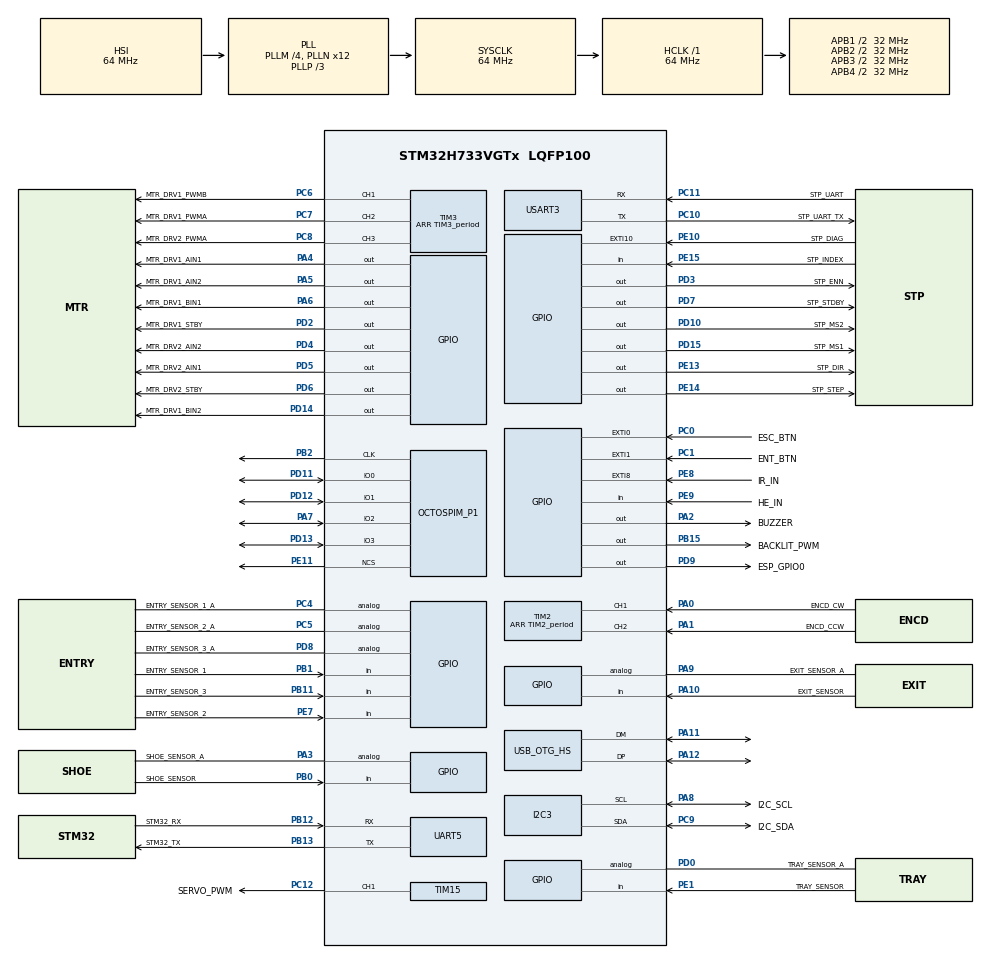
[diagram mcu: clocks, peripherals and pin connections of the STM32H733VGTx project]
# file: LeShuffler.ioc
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CORTEX_M7.CPU_DCache=Enabled
CORTEX_M7.CPU_ICache=Enabled
CORTEX_M7.default_mode_Activation=0
I2C3.Timing=0x00707CBB
IWDG1.Prescaler=IWDG_PRESCALER_256
IWDG1.Reload=IWDG_window_value
IWDG1.Window=IWDG_window_value
Mcu.Family=STM32H7
Mcu.Name=STM32H733VGTx
Mcu.Package=LQFP100
Mcu.UserConstants=TIM2_prescaler,(4-1);encoderFilter,15;TIM15_prescaler,(128-1);TIM3_period,(100-1);TIM15_period,(10000-1);TIM3_prescaler,(640-1);IWDG_period,(4096-1);TIM14_PERIOD,(5000-1);TIM12_period,(65536-1);TIM12_prescaler,(64-1);TIM2_period,(65536-1);IWDG_window_value,(750-1);TIM14_PRESCALER,(64000-1)
NVIC.EXTI0_IRQn=true\:0\:0\:false\:false\:true\:true\:true\:true
NVIC.EXTI15_10_IRQn=true\:0\:0\:false\:false\:true\:true\:true\:true
NVIC.EXTI1_IRQn=true\:0\:0\:false\:false\:true\:true\:true\:true
NVIC.EXTI9_5_IRQn=true\:0\:0\:false\:false\:true\:true\:true\:true
NVIC.FLASH_IRQn=true\:0\:0\:false\:false\:true\:true\:true\:true
NVIC.OTG_HS_IRQn=true\:0\:0\:false\:false\:true\:false\:true\:true
NVIC.PriorityGroup=NVIC_PRIORITYGROUP_4
NVIC.TIM15_IRQn=true\:0\:0\:false\:false\:true\:true\:true\:true
NVIC.TIM2_IRQn=true\:0\:0\:false\:false\:true\:true\:true\:true
NVIC.TIM8_BRK_TIM12_IRQn=true\:0\:0\:false\:false\:true\:true\:true\:true
OCTOSPI2.ChipSelectHighTime=5
OCTOSPI2.DeviceSize=25
OCTOSPI2.DeviceType=SPI_DEVICE_FLASH
OCTOSPI2.FifoThreshold=4
PA0.GPIO_Label=ENCD_CW
PA0.Signal=S_TIM2_CH1_ETR
PA1.GPIO_Label=ENCD_CCW
PA1.Signal=S_TIM2_CH2
PA10.GPIO_Label=EXIT_SENSOR
PA10.Signal=GPIO_Input
PA11.Mode=Device_Only_FS
PA11.Signal=USB_OTG_HS_DM
PA12.Mode=Device_Only_FS
PA12.Signal=USB_OTG_HS_DP
PA13(JTMS/SWDIO).Mode=Serial_Wire
PA13(JTMS/SWDIO).Signal=DEBUG_JTMS-SWDIO
PA14(JTCK/SWCLK).Mode=Serial_Wire
PA14(JTCK/SWCLK).Signal=DEBUG_JTCK-SWCLK
PA2.GPIO_Label=BUZZER
PA2.Signal=GPIO_Output
PA3.GPIO_Label=SHOE_SENSOR_A
PA3.Signal=GPIO_Analog
PA4.GPIO_Label=MTR_DRV1_AIN1
PA4.Signal=GPIO_Output
PA5.GPIO_Label=MTR_DRV1_AIN2
PA5.Signal=GPIO_Output
PA6.GPIO_Label=MTR_DRV1_BIN1
PA6.Signal=GPIO_Output
PA7.Mode=OCTOSPI2_IOL_Port1L
PA7.Signal=OCTOSPIM_P1_IO2
PA8.GPIO_Label=I2C_SCL
PA8.Mode=I2C
PA8.Signal=I2C3_SCL
PA9.GPIO_Label=EXIT_SENSOR_A
PA9.Signal=GPIO_Analog
PB0.GPIO_Label=SHOE_SENSOR
PB0.Signal=GPIO_Input
PB1.GPIO_Label=ENTRY_SENSOR_1
PB1.Signal=GPIO_Input
PB11.GPIO_Label=ENTRY_SENSOR_3
PB11.Signal=GPIO_Input
PB12.GPIO_Label=STM32_RX
PB12.Mode=Asynchronous
PB12.Signal=UART5_RX
PB13.GPIO_Label=STM32_TX
PB13.Mode=Asynchronous
PB13.Signal=UART5_TX
PB15.GPIO_Label=BACKLIT_PWM
PB15.Signal=GPIO_Output
PB2.Mode=O2_P1_CLK
PB2.Signal=OCTOSPIM_P1_CLK
PC0.GPIO_Label=ESC_BTN
PC0.Signal=GPXTI0
PC1.GPIO_Label=ENT_BTN
PC1.Signal=GPXTI1
PC10.GPIO_Label=STP_UART_TX
PC10.Mode=Asynchronous
PC10.Signal=USART3_TX
PC11.GPIO_Label=STP_UART
PC11.Mode=Asynchronous
PC11.Signal=USART3_RX
PC12.GPIO_Label=SERVO_PWM
PC12.Signal=S_TIM15_CH1
PC14-OSC32_IN.Mode=LSE-External-Oscillator
PC14-OSC32_IN.Signal=RCC_OSC32_IN
PC15-OSC32_OUT.Mode=LSE-External-Oscillator
PC15-OSC32_OUT.Signal=RCC_OSC32_OUT
PC4.GPIO_Label=ENTRY_SENSOR_1_A
PC4.Signal=GPIO_Analog
PC5.GPIO_Label=ENTRY_SENSOR_2_A
PC5.Signal=GPIO_Analog
PC6.GPIO_Label=MTR_DRV1_PWMB
PC6.Signal=S_TIM3_CH1
PC7.GPIO_Label=MTR_DRV1_PWMA
PC7.Signal=S_TIM3_CH2
PC8.GPIO_Label=MTR_DRV2_PWMA
PC8.Signal=S_TIM3_CH3
PC9.GPIO_Label=I2C_SDA
PC9.Mode=I2C
PC9.Signal=I2C3_SDA
PD0.GPIO_Label=TRAY_SENSOR_A
PD0.Signal=GPIO_Analog
PD10.GPIO_Label=STP_MS2
PD10.Signal=GPIO_Output
PD11.Mode=OCTOSPI2_IOL_Port1L
PD11.Signal=OCTOSPIM_P1_IO0
PD12.Mode=OCTOSPI2_IOL_Port1L
PD12.Signal=OCTOSPIM_P1_IO1
PD13.Mode=OCTOSPI2_IOL_Port1L
PD13.Signal=OCTOSPIM_P1_IO3
PD14.GPIO_Label=MTR_DRV1_BIN2
PD14.Signal=GPIO_Output
PD15.GPIO_Label=STP_MS1
PD15.Signal=GPIO_Output
PD2.GPIO_Label=MTR_DRV1_STBY
PD2.Signal=GPIO_Output
PD3.GPIO_Label=STP_ENN
PD3.Signal=GPIO_Output
PD4.GPIO_Label=MTR_DRV2_AIN2
PD4.Signal=GPIO_Output
PD5.GPIO_Label=MTR_DRV2_AIN1
PD5.Signal=GPIO_Output
PD6.GPIO_Label=MTR_DRV2_STBY
PD6.Signal=GPIO_Output
PD7.GPIO_Label=STP_STDBY
PD7.Signal=GPIO_Output
PD8.GPIO_Label=ENTRY_SENSOR_3_A
PD8.Signal=GPIO_Analog
PD9.GPIO_Label=ESP_GPIO0
PD9.Signal=GPIO_Output
PE1.GPIO_Label=TRAY_SENSOR
PE1.Signal=GPIO_Input
PE10.GPIO_Label=STP_DIAG
PE10.Signal=GPXTI10
PE11.Mode=OCTOSPI2_Port1_NCS
PE11.Signal=OCTOSPIM_P1_NCS
PE13.GPIO_Label=STP_DIR
PE13.Signal=GPIO_Output
PE14.GPIO_Label=STP_STEP
PE14.Signal=GPIO_Output
PE15.GPIO_Label=STP_INDEX
PE15.Signal=GPIO_Input
PE7.GPIO_Label=ENTRY_SENSOR_2
PE7.Signal=GPIO_Input
PE8.GPIO_Label=IR_IN
PE8.Signal=GPXTI8
PE9.GPIO_Label=HE_IN
PE9.Signal=GPIO_Input
PH0-OSC_IN.Mode=HSE-External-Oscillator
PH0-OSC_IN.Signal=RCC_OSC_IN
PH1-OSC_OUT.Mode=HSE-External-Oscillator
PH1-OSC_OUT.Signal=RCC_OSC_OUT
ProjectManager.HeapSize=0x200
ProjectManager.StackSize=0x400
ProjectManager.TargetToolchain=STM32CubeIDE
RCC.ADCFreq_Value=512000000
RCC.APB1Freq_Value=32000000
RCC.APB2Freq_Value=32000000
RCC.APB3Freq_Value=32000000
RCC.APB4Freq_Value=32000000
RCC.CDPPRE=RCC_APB3_DIV2
RCC.CDPPRE1=RCC_APB1_DIV2
RCC.CDPPRE2=RCC_APB2_DIV2
RCC.CKPERSourceSelection=RCC_CLKPSOURCE_HSE
RCC.CortexFreq_Value=64000000
RCC.D1PPRE=RCC_APB3_DIV2
RCC.D2PPRE1=RCC_APB1_DIV2
RCC.D2PPRE2=RCC_APB2_DIV2
RCC.D3PPRE=RCC_APB4_DIV2
RCC.DIVM1=4
RCC.DIVM2=1
RCC.DIVM3=1
RCC.DIVN1=12
RCC.DIVN2=16
RCC.DIVN3=24
RCC.DIVP1=3
RCC.HCLKFreq_Value=64000000
RCC.HSE_VALUE=8000000
RCC.PLL2FRACN=0
RCC.PLL3FRACN=0
RCC.PLLFRACN=0
RCC.PWR_Regulator_Voltage_Scale=PWR_REGULATOR_VOLTAGE_SCALE3
RCC.RNGCLockSelection=RCC_RNGCLKSOURCE_PLL
RCC.SRDPPRE=RCC_APB4_DIV2
RCC.SYSCLKFreq_VALUE=64000000
RCC.SYSCLKSource=RCC_SYSCLKSOURCE_PLLCLK
RCC.USBCLockSelection=RCC_USBCLKSOURCE_HSI48
RCC.USBFreq_Value=48000000
SH.S_TIM15_CH1.0=TIM15_CH1,PWM Generation1 CH1
SH.S_TIM2_CH1_ETR.0=TIM2_CH1,Encoder_Interface
SH.S_TIM2_CH2.0=TIM2_CH2,Encoder_Interface
SH.S_TIM3_CH1.0=TIM3_CH1,PWM Generation1 CH1
SH.S_TIM3_CH2.0=TIM3_CH2,PWM Generation2 CH2
SH.S_TIM3_CH3.0=TIM3_CH3,PWM Generation3 CH3
TIM12.Period=TIM12_period
TIM12.Prescaler=TIM12_prescaler
TIM15.Channel-PWM\ Generation1\ CH1=TIM_CHANNEL_1
TIM15.Period=TIM15_period
TIM15.Prescaler=TIM15_prescaler
TIM2.EncoderMode=TIM_ENCODERMODE_TI12
TIM2.IC1Filter=encoderFilter
TIM2.IC2Filter=encoderFilter
TIM2.Period=TIM2_period
TIM2.Prescaler=TIM2_prescaler
TIM3.Channel-PWM\ Generation1\ CH1=TIM_CHANNEL_1
TIM3.Channel-PWM\ Generation2\ CH2=TIM_CHANNEL_2
TIM3.Channel-PWM\ Generation3\ CH3=TIM_CHANNEL_3
TIM3.OCFastMode_PWM-PWM\ Generation2\ CH2=TIM_OCFAST_DISABLE
TIM3.OCMode_PWM-PWM\ Generation2\ CH2=TIM_OCMODE_PWM1
TIM3.Period=TIM3_period
TIM3.Prescaler=TIM3_prescaler
USART3.VirtualMode-Asynchronous=VM_ASYNC
USB_DEVICE.CLASS_NAME_HS=CDC
USB_DEVICE.USBD_DEBUG_LEVEL=3
USB_DEVICE.VirtualMode=Cdc
USB_DEVICE.VirtualModeHS=Cdc_HS
USB_OTG_HS.VirtualMode-Device_Only_FS=Device_Only_FS
VP_IWDG1_VS_IWDG.Mode=IWDG_Activate
VP_MEMORYMAP_VS_MEMORYMAP.Mode=CurAppReg
VP_OCTOSPI2_VS_quad.Mode=quad_mode
VP_RNG_VS_RNG.Mode=RNG_Activate
VP_TIM12_VS_ClockSourceINT.Mode=Internal
VP_TIM3_VS_ClockSourceINT.Mode=Internal
VP_USB_DEVICE_VS_USB_DEVICE_CDC_HS.Mode=CDC_HS
board=custom

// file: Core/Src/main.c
/* USER CODE BEGIN Header */
/**
 ******************************************************************************
 * @file           : main.c
 * @brief          : Main program body
 ******************************************************************************
 *
 ******************************************************************************
 */
/* USER CODE END Header */
#include <basic_operations.h>
#include <main.h>
#include <i2c.h>
#include "memorymap.h"
#include <octospi.h>
#include <rng.h>
#include "tim.h"
#include "usart.h"
#include "usb_device.h"
#include "gpio.h"

/* USER CODE BEGIN Includes */

#include <bootload.h>
#include <buttons.h>
#include <fonts.h>
#include <games.h>
#include <ili9488.h>
#include <interface.h>
#include <inttypes.h>
#include <math.h>
#include "PSRAM.h"
#include <rng.h>
#include <servo_motor.h>
#include <stdbool.h>
#include <stdio.h>
#include <stdlib.h>
#include <stm32_adafruit_lcd.h>
#include <string.h>
#include <TB6612FNG.h>
#include <TMC2209.h>
#include "usbd_cdc_if.h"
#include <utilities.h>
#include <version.h>
#include "iwdg.h"
#include "rdp_protection.h"

#include "tests.h"

/* USER CODE END Includes */

/* USER CODE BEGIN PV */

extern char display_buf[];
extern union game_state_t game_state;
extern union machine_state_t machine_state;
gen_prefs_t gen_prefs;
context_t context;

bool reset_home = false;
bool fresh_load = true;

servo_motor_t flap;
dc_motor_t tray_motor;
dc_motor_t entry_motor;
dc_motor_t latch;
button encoder_btn;
button escape_btn;

uint8_t n_cards_in;
int16_t prev_encoder_pos;
uint32_t prev_encoder_turn_time;
int8_t carousel_pos;
uint32_t last_deal_time;
bool latch_position;
move_report_t MR;
eject_report_t ER;
load_report_t LR;
menu_t current_menu;

extern game_rules_t void_game_rules;
extern user_prefs_t void_user_pref;

/* USER CODE END PV */

void SystemClock_Config(void);
/* USER CODE BEGIN PFP */
void EnterBootloaderMode(void);
static bool CheckServiceModeShortcut(void);
/* USER CODE END PFP */

int main(void)
{

	/* USER CODE BEGIN 1 */

	uint16_t n_loaded;
	bool sel_rand_mode;
	bool neutralise_errors = false;

	/* USER CODE END 1 */

	/* Enable the CPU Cache */

	/* Enable I-Cache---------------------------------------------------------*/

	SCB_EnableICache();

	/* Enable D-Cache---------------------------------------------------------*/
	SCB_EnableDCache();

	/* MCU Configuration--------------------------------------------------------*/

	/* Reset of all peripherals, Initializes the Flash interface and the Systick. */
	HAL_Init();

	/* Configure the system clock */
	SystemClock_Config();

	/* USER CODE BEGIN SysInit */

	/* Check and set RDP Level 1 protection if not already set.
	 * This runs once on first boot after firmware update.
	 * If RDP0, sets RDP1 and triggers reset (function won't return).
	 * If already RDP1, continues normal boot. */
	RDP_CheckAndProtect();
	/*
	 * RECAP OF TIMER USE
	 * TIM2		rotary encoder
	 * TIM3		DC motors PWM (speed) and solenoid (unused)
	 * TIM12	microseconds
	 * TIM15	servo motor PWM (position)
	 */
	/* USER CODE END SysInit */

	/* Initialize all configured peripherals */
	MX_GPIO_Init();
	MX_I2C3_Init();
	MX_OCTOSPI2_Init();
	MX_RNG_Init();
	MX_TIM2_Init();
	MX_TIM3_Init();
	MX_TIM12_Init();
	MX_TIM15_Init();
	MX_UART5_Init();
	MX_USB_DEVICE_Init();
	MX_USART3_UART_Init();
	MX_IWDG1_Init();
	/* USER CODE BEGIN 2 */

	// Check for service mode shortcut (both buttons held for 2 seconds)
	// This allows firmware updates when USB power is insufficient for motors
	CheckServiceModeShortcut();

	/**
	 * @brief Call this in main() as soon as possible AFTER MX_I2C3_Init()
	 * because it needs I2C3 to communicate with the external 47C16 chip
	 */
	EarlyBootloaderCheck();
	// Initialise Status
	return_code_t status = LS_OK;
	return_code_t local_status;

	//Set up LCD
	HAL_GPIO_WritePin(BACKLIT_PWM_GPIO_Port, BACKLIT_PWM_Pin, GPIO_PIN_SET);
	BSP_LCD_Init();
	BSP_LCD_Clear(LCD_COLOR_BCKGND);

	//Initialise menu system
	interface_init();

	// Enable flash memory map
	W25Q64_OSPI_EnableMemoryMappedMode(&hospi2);

	// Start encoder mode on TIM2 (encoder)
	HAL_TIM_Encoder_Start(ENCODER_TIM_CH);
	// Start TIM12 (microseconds)
	HAL_TIM_Base_Start(&MICROSECONDS_TIM);

	// Initialise buttons
	button_init(&encoder_btn, ENT_BTN_GPIO_Port, ENT_BTN_Pin, GPIO_PIN_RESET);
	button_init(&escape_btn, ESC_BTN_GPIO_Port, ESC_BTN_Pin, GPIO_PIN_RESET);

	// Initialise actuators
	DCmotorInit(&tray_motor, 1, TRAY_MOTOR_PIN_1, TRAY_MOTOR_PIN_2,
	TRAY_MOTOR_STDBY_PIN, TRAY_MOTOR_PWM_CH);
	DCmotorInit(&entry_motor, 2, ENTRY_MOTOR_PIN_1, ENTRY_MOTOR_PIN_2,
	ENTRY_MOTOR_STDBY_PIN, ENTRY_MOTOR_PWM_CH);
	DCmotorInit(&latch, 3, SOLENOID_PIN_1, SOLENOID_PIN_2, SOLENOID_STDBY_PIN,
	SOLENOID_PWM_CH);
	flap_init(SERVO_PWM_CH);

	// Activate EERAM AutoStore
	if (EERAM_ActivateAutoStore(&hi2c3) != HAL_OK)
	{
		status = EERAM_ERROR;
		goto _ERROR_CATCH;
	}

	// Check code consistency of games/EERAM
	extern uint16_t n_presets;
	extern uint16_t n_user_prefs;
	extern uint16_t n_menus;
	extern uint16_t n_games;
	if ((n_presets != n_user_prefs) || n_presets != n_games + 1 // +1 is  DEAL_N_CARDS
	|| sizeof(game_rules_t) != E_GAME_RULES_SIZE
			|| sizeof(cc_stage_t) != E_CC_STAGE_SIZE
			|| sizeof(user_prefs_t) != E_USER_PREFS_SIZE || E_N_MENUS < n_menus
			|| E_N_PRESETS < n_presets)
	{
		status = LS_ERROR;
		goto _ERROR_CATCH;
	}

	// Check code consistency of error codes
	extern uint16_t n_non_errors;
	extern uint16_t n_text_errors;
	extern uint16_t n_graphic_errors;
	extern uint16_t n_fatal_errors;
	if (n_non_errors + n_text_errors + n_graphic_errors + n_fatal_errors
			!= TMC2209_ERROR + 1)
	{
		status = LS_ERROR;
		goto _ERROR_CATCH;
	}

	// Prompt animated logo
	prompt_animated_logo();

	// If ESC pressed during logo prompt, wait for buttons after logo
	if (escape_btn.interrupt_press)
	{
		wait_btns();
		reset_btns();
	}

	// Force latch closed
	latch_position = LATCH_OPEN;
	set_latch(LATCH_CLOSED);

	// Initialise carousel
	if ((status = carousel_init()) != LS_OK)
		goto _ERROR_CATCH;

	// Home carousel just after initialisation
	if ((status = home_carousel()) != LS_OK)
		goto _ERROR_CATCH;

	// Check EERAM status and initialise if necessary
	// (will prompt soft reset down the line via DO_RESET
	if ((status = check_eeram()) != LS_OK)
	{
		set_current_menu(ROOT_MENU);
		goto _ERROR_CATCH;
	}

	// Get machine state
	if ((status = read_machine_state()) != LS_OK)
		goto _ERROR_CATCH;

	if (machine_state.reset == DO_RESET)
	{
		if ((status = reset_user_prefs()) != LS_OK
				|| (status = reset_content()) != LS_OK || (status =
						reset_custom_games()) != LS_OK)
			goto _ERROR_CATCH;
	}

	// Read general preferences
	if ((status = read_gen_prefs()) != LS_OK)
		goto _ERROR_CATCH;

	// Get nb cards in
	if ((status = get_n_cards_in()) != LS_OK)
		goto _ERROR_CATCH;

	// Flag start_up
	bool start_up = true;

	// Signal end of sequence
	beep(1);
	// If cards in shoe, ask to pick them up
	wait_pickup_shoe_or_ESC();

	/* USER CODE BEGIN WHILE */
	/* USER CODE END 2 */
	/* Infinite loop */
	while (1)
	{
		watchdog_refresh();

		// Force empty if error content
		if (machine_state.content_error == CONTENT_ERROR)
			if ((status = force_empty(
					"Content error.\nShuffler will be emptied", TIME_LAG))
					!= LS_OK)
				goto _ERROR_CATCH;;

		// Reset homing position if needed
		if (reset_home)
		{
			prompt_message("Resetting carousel...");
			// Home carousel
			if ((local_status = home_carousel()) != LS_OK)
			{
				status = local_status;
				clear_message(TEXT_ERROR);
				goto _ERROR_CATCH;
			}

			clear_message(TEXT_ERROR);

			// Reset flag
			reset_home = false;

			goto _ERROR_CATCH;
		}

		// Initialise n_loaded
		n_loaded = 0;

		// GET GAME STATE
		if ((status = read_game_state()) != LS_OK)
			goto _ERROR_CATCH;

		// Check if last game was interrupted
		// If stuck at END_GAME, or not proper game and interrupted, reset
		if (game_state.current_stage == END_GAME
				|| (!is_proper_game(game_state.game_code)
						&& game_state.current_stage != NO_GAME_RUNNING))
		{
			game_state.current_stage = NO_GAME_RUNNING;
			if ((status = write_game_state()) != LS_OK)
				goto _ERROR_CATCH;
		}
		// Else, if suspended proper game, ask
		else if (game_state.current_stage != NO_GAME_RUNNING)
		{
			// Get label of game_code and prompt user
			menu_t temp_menu;
			return_code_t user_input;
			extern icon_set_t icon_set_check;
			if ((status = set_menu(&temp_menu, game_state.game_code)) != LS_OK)
				goto _ERROR_CATCH;
			snprintf(display_buf, N_DISP_MAX, "%s in progress\nContinue?",
					temp_menu.label);
			clear_text();
			user_input = prompt_interface(MESSAGE, CUSTOM_MESSAGE, display_buf,
					icon_set_check, ICON_RED_CROSS, BUTTON_PRESS);
			if (user_input == LS_ESC)
			{
				if ((status = reset_game_state()) != LS_OK)
					goto _ERROR_CATCH;
				if ((status = prompt_menu(DEFAULT_SELECT, ROOT_MENU)) != LS_OK)
					goto _ERROR_CATCH;
			}
			else
			{
				if ((status = set_current_menu(game_state.game_code)) != LS_OK)
					goto _ERROR_CATCH;
				prompt_title(current_menu.label);
			}
		}

		/********************************************
		 * Cycle through menus if no game is running
		 ********************************************/
		if (game_state.current_stage == NO_GAME_RUNNING)
		{

			if (start_up)
			{
				// Prompt root menu
				prompt_menu(DEFAULT_SELECT, ROOT_MENU);
				if (machine_state.content_error == CONTENT_OK)
					prompt_n_cards_in();
				else
					hide_n_cards_in();
				start_up = false;
			}

			if ((status = menu_cycle()) != LS_OK)
				goto _ERROR_CATCH;
			// Update game_state
			game_state.game_code = current_menu.code;

		}

		/********************************************
		 * Exiting menu cycle
		 ********************************************/

		/*
		 * If double deck shuffling was interrupted, and we are attempting an
		 * action - other than shuffling 2 decks or emptying - with more than 1 card
		 * in any slots, empty carousel
		 */

		if ((current_menu.n_items == 0)
				&& (machine_state.double_deck == DOUBLE_DECK_STATE)
				&& (current_menu.code != DOUBLE_DECK_SHUFFLE)
				&& (current_menu.code != EMPTY))
		{
			// Assert if some slots have 2 cards
			bool SDS;
			if ((status = some_double_slots(&SDS)) != LS_OK)
				goto _ERROR_CATCH;
			// If so force empty
			if (SDS)
			{
				if ((status = force_empty(
						"Some slots contain 2 cards.\nShuffler will be emptied",
						TIME_LAG)) != LS_OK)
					goto _ERROR_CATCH;
			}
			// If not, switch to single deck mode
			else
			{
				machine_state.double_deck = SINGLE_DECK_STATE;
				if ((status = write_machine_state()) != LS_OK)
					goto _ERROR_CATCH;
				hide_n_cards_in();

			}
		}

		// If proper game, run game
		if (is_proper_game(game_state.game_code))
		{
			if (context == CONTEXT_SET_PREFS)
			{
				if ((status = set_user_prefs(game_state.game_code)) != LS_OK)
					goto _ERROR_CATCH;
			}
			else if (context == CONTEXT_SET_CUSTOM_GAMES)
			{
				if ((status = set_custom_game_rules(game_state.game_code))
						!= LS_OK)
					goto _ERROR_CATCH;
			}
			else
				while ((status = run_game()) == LS_OK)
					;
		}
		// Else if action menu, find associated action if any
		else if (current_menu.n_items == 0)
			switch ((uint8_t) current_menu.code)
			{
				case RESET_PREFS:
					clear_text();
					extern icon_set_t icon_set_check;
					return_code_t user_input = prompt_interface(WARNING,
							CUSTOM_MESSAGE, "\nReset preferences?",
							icon_set_check, ICON_BACK, BUTTON_PRESS);
					if (user_input == LS_OK)
					{
						if ((status = reset_user_prefs()) != LS_OK)
							goto _ERROR_CATCH;
						clear_message(TEXT_ERROR);
					}
					reset_btns();
					break;

				case RESET_CONTENT:
					clear_text();
					extern icon_set_t icon_set_check;
					user_input = prompt_interface(WARNING, CUSTOM_MESSAGE,
							"\nReset shuffler content?", icon_set_check,
							ICON_BACK, BUTTON_PRESS);
					if (user_input == LS_OK)
					{
						if ((status = reset_content()) != LS_OK)
							goto _ERROR_CATCH;
						clear_message(TEXT_ERROR);
					}
					// Safely close latch
					latch_position = LATCH_OPEN;
					set_latch(LATCH_CLOSED);
					reset_btns();
					break;

				case RESET_CUSTOM_GAMES:
					clear_text();
					extern icon_set_t icon_set_check;
					user_input = prompt_interface(WARNING, CUSTOM_MESSAGE,
							"\nReset custom games?", icon_set_check, ICON_BACK,
							BUTTON_PRESS);
					if (user_input == LS_OK)
					{
						if ((status = reset_custom_games()) != LS_OK)
							goto _ERROR_CATCH;
						clear_message(TEXT_ERROR);
					}
					reset_btns();
					break;

				case SHUFFLE:
					// Shuffle
					if (!cards_in_shoe())
						flap_close();
					game_state.current_stage = SHUFFLING;
					if ((status = write_game_state()) != LS_OK)
						goto _ERROR_CATCH;
					status = shuffle(&n_loaded);
					break;

				case DOUBLE_DECK_SHUFFLE:
					// Shuffle 2 decks
					if ((status = load_double_deck(&n_loaded)) != LS_OK)
						goto _ERROR_CATCH;
					// Safe empty afterwards
					game_state.current_stage = SAFE_EMPTYING;
					if ((status = write_game_state()) != LS_OK)
						goto _ERROR_CATCH;
					clear_text();
					if ((status = discharge_cards(void_game_rules)) != LS_OK)
						goto _ERROR_CATCH;
					// If OK wait for pick-up
					wait_pickup_shoe(0);
					break;

				case LOAD:
					// Close flap
					flap_close();

					// Get machine state
					if ((status = read_machine_state()) != LS_OK)
						break;

					// Select mode: random if long press and no previous sequential operation, seq otherwise
					if (encoder_btn.long_press
							&& machine_state.random_in == RANDOM_STATE)
						sel_rand_mode = RAND_MODE;
					else
						sel_rand_mode = SEQ_MODE;

					// Load cards and prompt if OK
					if ((status = load_carousel(sel_rand_mode, &n_loaded))
							== LS_OK)
					{
						snprintf(display_buf, N_DISP_MAX, "Loaded %d card%s",
								n_loaded, n_loaded > 1 ? "s" : "");
						extern icon_set_t icon_set_void;
						prompt_interface(MESSAGE, CUSTOM_MESSAGE, display_buf,
								icon_set_void, ICON_VOID, TIME_LAG);
					}
					break;

				case DEAL_N_CARDS:
					status = deal_n_cards();
					break;

				case SHUFFLERS_CHOICE:
					status = shufflers_choice();
					break;

				case EMPTY:

					// Update game_state
					game_state.game_code = EMPTY;

					// Set up safe random mode (PERMANENT safe + seq, other seq)
					if (encoder_btn.permanent_press)
						game_state.current_stage = SAFE_EMPTYING;
					else
						game_state.current_stage = EMPTYING;

					if ((status = write_game_state()) != LS_OK)
						goto _ERROR_CATCH;

					// Close flap (option)
					wait_pickup_shoe_or_ESC();

					// Empty carousel
					if ((status = discharge_cards(void_game_rules))
							!= CARD_STUCK_ON_EXIT)
						set_latch(LATCH_CLOSED);

					// Update game_state
					game_state.current_stage = NO_GAME_RUNNING;
					if ((local_status = write_game_state()) != LS_OK)
						status = local_status;
					break;

				case ADJUST_DEAL_GAP:
					status = adjust_deal_gap();
					break;

				case SET_CUT_CARD_FLAG:
					status = set_cut_card_flag();
					break;

				case ROTATE_TRAY_ROLLER:
					clean_roller(tray_motor);
					break;

				case ROTATE_ENTRY_ROLLER:
					clean_roller(entry_motor);
					break;

				case DC_MOTORS_RUN_IN:
					dc_motors_run_in();
					break;

				case TEST_CAROUSEL:
					status = test_carousel_motor();
					break;

				case TEST_CAROUSEL_DRIVER:
					test_carousel_driver();
					break;

				case TEST_EXIT_LATCH:
					test_exit_latch();
					break;

				case ACCESS_EXIT_CHUTE:
					access_exit_chute();
					break;

				case ADJUST_CARD_FLAP:
					status = adjust_card_flap_full();
					break;

				case ADJUST_CARD_FLAP_LIMITED:
					status = adjust_card_flap_limited();
					break;

				case TEST_BUZZER:
					test_buzzer();
					break;

				case DISPLAY_SENSORS:
					display_sensors();
					break;

				case ABOUT:
					status = prompt_about();
					break;

				case IMAGE_UTILITY:
					carousel_disable();
					image_utility();
					carousel_enable();
					status = LS_OK;
					break;

				case FIRMWARE_UPDATE:
					// General warning with current version
					clear_text();
					extern icon_set_t icon_set_check;
					char fw_warning[80];
					snprintf(fw_warning, sizeof(fw_warning),
							"Current version: %s\nwill be erased. Continue?",
							GetFirmwareVersionString());
					user_input = prompt_interface(WARNING, CUSTOM_MESSAGE,
							fw_warning,
							icon_set_check, ICON_CROSS, BUTTON_PRESS);
					if (user_input == LS_OK)
					{
						// Check safety code
						const uint16_t code_len = 5;
						char safety_code[] = "AKQJT";
						char code_input[] =  "@@@@@";
						int16_t m_row = 1;

						clear_message(TEXT_ERROR);
						prompt_text("Enter safety code:", m_row, LCD_BOLD_FONT);
						name_input(code_input, code_len);
						if (strcmp(code_input, safety_code) == 0)
							EnterBootloaderMode();
					}
					reset_btns();
					break;

				case TEST_IMAGES:
					show_images();
					status = LS_OK;
					break;

				case TEST_WATCHDOG:
					test_watchdog();
					status = LS_OK;
					break;

					// _menu with no sub-menus and no affected action (yet)
				default:
					status = INVALID_CHOICE;
			}

		// ERROR CATCH and reset screen
		_ERROR_CATCH:

		bool is_standard_error(return_code_t return_code)
		{
			bool found = false;
			extern return_code_t standard_errors[];
			extern const uint16_t n_standard_errors;
			for (uint16_t i = 0; i < n_standard_errors; i++)
			{
				if (return_code == standard_errors[i])
				{
					found = true;
					break;
				}
			}

			return found;
		}

		// If all OK and action menu (no sub-menus) return to calling menu
		if (status == LS_OK)
		{
			if (current_menu.n_items == 0)
				if ((status = prompt_calling_menu()) != LS_OK)
					goto _ERROR_CATCH;
		}
		// Manage standard errors (display standard message)
		else if (is_standard_error(status))
		{
			extern icon_set_t icon_set_check;
			prompt_interface(ALERT, status, "", icon_set_check, ICON_VOID,
					BUTTON_PRESS);
			if (current_menu.code != ROOT_MENU)
			{
				if ((status = prompt_calling_menu()) != LS_OK)
					goto _ERROR_CATCH;
			}
			else
				prompt_menu(DEFAULT_SELECT, ROOT_MENU);
		}
		// Manage non-standard errors
		else
			switch (status)
			{
				case LS_ESC:
					// Go back to calling menu, inactive if in root menu
					if ((status = prompt_calling_menu()) != LS_OK)
						goto _ERROR_CATCH;
					break;

				case DO_EMPTY:
					status = force_empty("Empty Shuffler?", BUTTON_PRESS);
					start_up = true;
					break;

				case SLOT_IS_EMPTY:
					machine_state.content_error = CONTENT_ERROR;
					if ((local_status = write_machine_state()) != LS_OK)
					{
						status = local_status;
						goto _ERROR_CATCH;
					}

					reset_home = true;
					break;

				case NO_FAVORITES_SELECTED:
					extern icon_set_t icon_set_check;
					prompt_interface(ALERT, status, "", icon_set_check,
							ICON_VOID, BUTTON_PRESS);
					set_param_sub_menu(SETTINGS, SET_FAVORITES);
					prompt_menu(FORCE_MENU, SETTINGS);

					break;

				case NO_DEALERS_CHOICE_SELECTED:
					extern icon_set_t icon_set_check;
					prompt_interface(ALERT, status, "", icon_set_check,
							ICON_VOID, BUTTON_PRESS);
					set_param_sub_menu(SETTINGS, SET_DEALERS_CHOICE);
					prompt_menu(FORCE_MENU, SETTINGS);

					break;

				default:
					if (neutralise_errors)
					{
						extern icon_set_t icon_set_check;
						prompt_interface(ALERT, status, "", icon_set_check,
								ICON_VOID, BUTTON_PRESS);
						BSP_LCD_Clear(LCD_COLOR_BCKGND);
						if (current_menu.code != ROOT_MENU)
						{
							if ((status = prompt_calling_menu()) != LS_OK)
								goto _ERROR_CATCH;
						}
						else
						{
							prompt_current_title();
							prompt_menu(DEFAULT_SELECT, ROOT_MENU);
						}
					}
					else
					{

						// All other errors cause termination
						LS_error_handler(status);
					}
			}

		status = LS_OK;
		reset_btns();

		if (machine_state.content_error == CONTENT_OK)
			prompt_n_cards_in();
		else
			hide_n_cards_in();

		/* USER CODE END WHILE */

	}
}

void SystemClock_Config(void)
{
	RCC_OscInitTypeDef RCC_OscInitStruct =
	{ 0 };
	RCC_ClkInitTypeDef RCC_ClkInitStruct =
	{ 0 };

	/** Supply configuration update enable
	 */
	HAL_PWREx_ConfigSupply(PWR_LDO_SUPPLY);

	/** Configure the main internal regulator output voltage
	 */
	__HAL_PWR_VOLTAGESCALING_CONFIG(PWR_REGULATOR_VOLTAGE_SCALE3);

	while (!__HAL_PWR_GET_FLAG(PWR_FLAG_VOSRDY))
	{
	}

	/** Initializes the RCC Oscillators according to the specified parameters
	 * in the RCC_OscInitTypeDef structure.
	 */
	RCC_OscInitStruct.OscillatorType = RCC_OSCILLATORTYPE_HSI48
			| RCC_OSCILLATORTYPE_HSI;
	RCC_OscInitStruct.HSIState = RCC_HSI_DIV1;
	RCC_OscInitStruct.HSICalibrationValue = 64;
	RCC_OscInitStruct.HSI48State = RCC_HSI48_ON;
	RCC_OscInitStruct.PLL.PLLState = RCC_PLL_ON;
	RCC_OscInitStruct.PLL.PLLSource = RCC_PLLSOURCE_HSI;
	RCC_OscInitStruct.PLL.PLLM = 4;
	RCC_OscInitStruct.PLL.PLLN = 12;
	RCC_OscInitStruct.PLL.PLLP = 3;
	RCC_OscInitStruct.PLL.PLLQ = 2;
	RCC_OscInitStruct.PLL.PLLR = 2;
	RCC_OscInitStruct.PLL.PLLRGE = RCC_PLL1VCIRANGE_3;
	RCC_OscInitStruct.PLL.PLLVCOSEL = RCC_PLL1VCOWIDE;
	RCC_OscInitStruct.PLL.PLLFRACN = 0;
	if (HAL_RCC_OscConfig(&RCC_OscInitStruct) != HAL_OK)
	{
		Error_Handler();
	}

	/** Initializes the CPU, AHB and APB buses clocks
	 */
	RCC_ClkInitStruct.ClockType = RCC_CLOCKTYPE_HCLK | RCC_CLOCKTYPE_SYSCLK
			| RCC_CLOCKTYPE_PCLK1 | RCC_CLOCKTYPE_PCLK2 | RCC_CLOCKTYPE_D3PCLK1
			| RCC_CLOCKTYPE_D1PCLK1;
	RCC_ClkInitStruct.SYSCLKSource = RCC_SYSCLKSOURCE_PLLCLK;
	RCC_ClkInitStruct.SYSCLKDivider = RCC_SYSCLK_DIV1;
	RCC_ClkInitStruct.AHBCLKDivider = RCC_HCLK_DIV1;
	RCC_ClkInitStruct.APB3CLKDivider = RCC_APB3_DIV2;
	RCC_ClkInitStruct.APB1CLKDivider = RCC_APB1_DIV2;
	RCC_ClkInitStruct.APB2CLKDivider = RCC_APB2_DIV2;
	RCC_ClkInitStruct.APB4CLKDivider = RCC_APB4_DIV2;

	if (HAL_RCC_ClockConfig(&RCC_ClkInitStruct, FLASH_LATENCY_1) != HAL_OK)
	{
		Error_Handler();
	}
}

/* USER CODE BEGIN 4 */

int _write(int file, char *ptr, int len)
{
	CDC_Transmit_HS((uint8_t*) ptr, len);
	return (len);
}

void HAL_GPIO_EXTI_Callback(uint16_t GPIO_Pin)
{

	if (GPIO_Pin == ESC_BTN_Pin)
		escape_btn.interrupt_press = true;
	else if (GPIO_Pin == ENT_BTN_Pin)
		encoder_btn.interrupt_press = true;
//	else if (GPIO_Pin == STP_DIAG_Pin)
//		stallFlag = true;

	return;
}

/* USER CODE END 4 */

void Error_Handler(void)
{
	/* USER CODE BEGIN Error_Handler_Debug */
	/* User can add his own implementation to report the HAL error return state */
	__disable_irq();
	while (1)
		;
	/* USER CODE END Error_Handler_Debug */
}

/**
 * @brief Enter bootloader mode for firmware update
 * Sets RTC backup register flag and resets.
 * Bootloader will erase flash before initializing USB.
 */
void EnterBootloaderMode(void)
{
	RCC->APB4ENR |= RCC_APB4ENR_RTCAPBEN;
	__DSB();
	PWR->CR1 |= PWR_CR1_DBP;
	while ((PWR->CR1 & PWR_CR1_DBP) == 0)
	{
	}
	RTC->BKP0R = BOOTLOADER_MAGIC_VALUE;
	NVIC_SystemReset();
}

/**
 * @brief Check for service mode shortcut at boot
 * If both ENTER and ESC buttons are held for 2 seconds at boot,
 * enters bootloader mode directly (bypasses motor init).
 * Used for field updates when USB power is insufficient for motors.
 * @return true if shortcut activated (won't return - resets to bootloader)
 * @return false if shortcut not activated (continue normal boot)
 */
static bool CheckServiceModeShortcut(void)
{
	// Check if both buttons are currently pressed
	// Buttons are active HIGH (open_state = GPIO_PIN_RESET)
	GPIO_PinState esc_state = HAL_GPIO_ReadPin(ESC_BTN_GPIO_Port, ESC_BTN_Pin);
	GPIO_PinState ent_state = HAL_GPIO_ReadPin(ENT_BTN_GPIO_Port, ENT_BTN_Pin);

	if (esc_state != GPIO_PIN_SET || ent_state != GPIO_PIN_SET)
	{
		// One or both buttons not pressed - normal boot
		return false;
	}

	// Both buttons pressed - wait 2 seconds and verify still held
	// Use simple HAL_Delay with watchdog refresh
	const uint32_t SERVICE_MODE_HOLD_TIME_MS = 2000;
	const uint32_t CHECK_INTERVAL_MS = 50;
	uint32_t elapsed_ms = 0;

	while (elapsed_ms < SERVICE_MODE_HOLD_TIME_MS)
	{
		watchdog_refresh();
		HAL_Delay(CHECK_INTERVAL_MS);
		elapsed_ms += CHECK_INTERVAL_MS;

		// Re-check buttons
		esc_state = HAL_GPIO_ReadPin(ESC_BTN_GPIO_Port, ESC_BTN_Pin);
		ent_state = HAL_GPIO_ReadPin(ENT_BTN_GPIO_Port, ENT_BTN_Pin);

		if (esc_state != GPIO_PIN_SET || ent_state != GPIO_PIN_SET)
		{
			// Button released before 2 seconds - abort shortcut
			return false;
		}
	}

	// Both buttons held for 2 seconds - enter service mode
	// Initialize minimal LCD to show message
	HAL_GPIO_WritePin(BACKLIT_PWM_GPIO_Port, BACKLIT_PWM_Pin, GPIO_PIN_SET);
	BSP_LCD_Init();
	BSP_LCD_Clear(LCD_COLOR_BLACK);
	BSP_LCD_SetFont(&LCD_FIXED_FONT);
	BSP_LCD_SetTextColor(LCD_COLOR_WHITE);
	BSP_LCD_DisplayStringAtLine(10, (uint8_t*)" SERVICE MODE");
	BSP_LCD_SetFont(&LCD_FIXED_SMALL_FONT);
	// Display current version (reads from flash, no EERAM needed)
	static char version_msg[40];
	snprintf(version_msg, sizeof(version_msg), " Current: %s", GetFirmwareVersionString());
	BSP_LCD_DisplayStringAtLine(8, (uint8_t*)version_msg);
	BSP_LCD_DisplayStringAtLine(6, (uint8_t*)" Entering firmware update...");

	// Distinctive beep pattern (long-short-long) to confirm service mode
	HAL_GPIO_WritePin(BUZZER_GPIO_Port, BUZZER_Pin, GPIO_PIN_SET);
	HAL_Delay(300);
	HAL_GPIO_WritePin(BUZZER_GPIO_Port, BUZZER_Pin, GPIO_PIN_RESET);
	HAL_Delay(100);
	HAL_GPIO_WritePin(BUZZER_GPIO_Port, BUZZER_Pin, GPIO_PIN_SET);
	HAL_Delay(100);
	HAL_GPIO_WritePin(BUZZER_GPIO_Port, BUZZER_Pin, GPIO_PIN_RESET);
	HAL_Delay(100);
	HAL_GPIO_WritePin(BUZZER_GPIO_Port, BUZZER_Pin, GPIO_PIN_SET);
	HAL_Delay(300);
	HAL_GPIO_WritePin(BUZZER_GPIO_Port, BUZZER_Pin, GPIO_PIN_RESET);

	// Delay so user can read the screen
	HAL_Delay(2500);
	watchdog_refresh();

	// Enter bootloader mode (this resets the device)
	EnterBootloaderMode();

	// Never reached
	return true;
}
